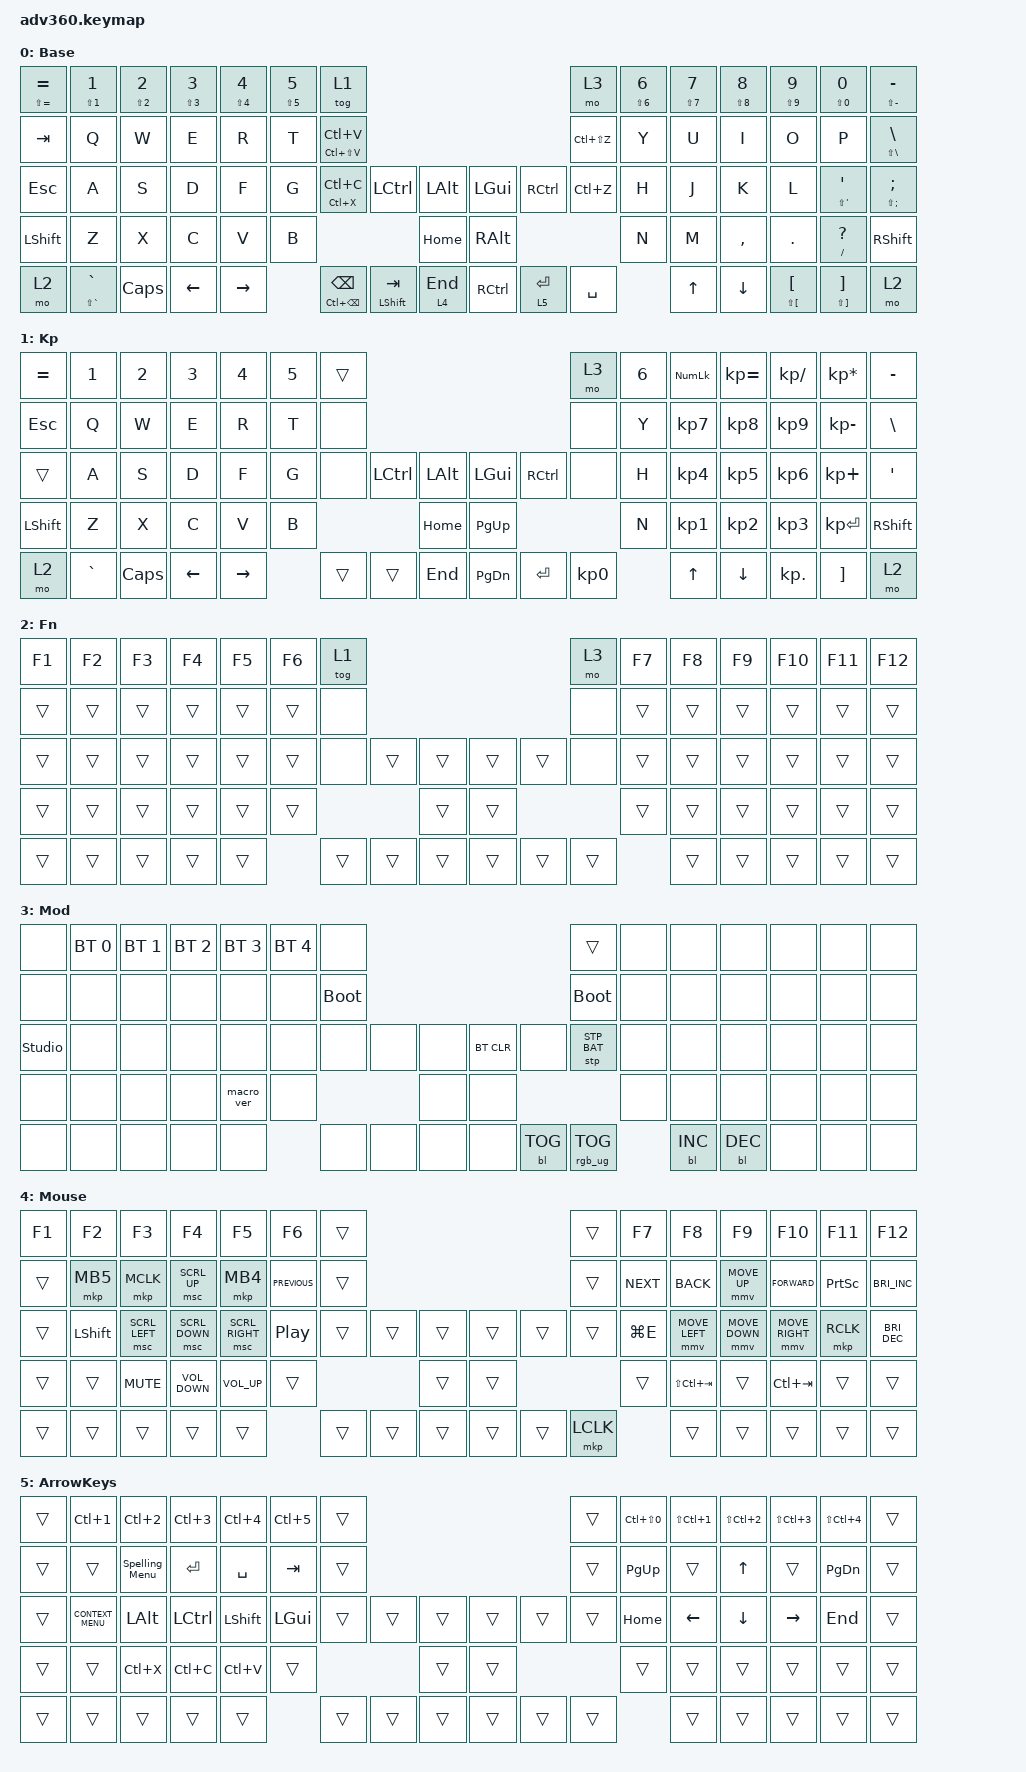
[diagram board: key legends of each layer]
#define ZMK_POINTING_DEFAULT_MOVE_VAL 2000
#define ZMK_POINTING_DEFAULT_SCRL_VAL 20

#include <dt-bindings/zmk/stp.h>
#include <behaviors.dtsi>
#include <dt-bindings/zmk/backlight.h>
#include <dt-bindings/zmk/bt.h>
#include <dt-bindings/zmk/keys.h>
#include <dt-bindings/zmk/pointing.h>
#include <dt-bindings/zmk/rgb.h>

&mmv {
    delay-ms = <10>;
    time-to-max-speed-ms = <360>;
    acceleration-exponent = <1>;
};

/ {
    behaviors {
        #include "macros.dtsi"
      #include "version.dtsi"

        hm: homerow_mods {
            compatible = "zmk,behavior-hold-tap";
            label = "HOMEROW_MODS";
            #binding-cells = <2>;
            tapping-term-ms = <200>;
            quick_tap_ms = <175>;
            flavor = "tap-preferred";
            bindings = <&kp>, <&kp>;
        };

        auto_shift: auto_shift {
            compatible = "zmk,behavior-hold-tap";
            label = "AUTO_SHIFT";
            bindings = <&kp>, <&kp>;

            #binding-cells = <2>;
            flavor = "balanced";
            tapping-term-ms = <180>;
            quick-tap-ms = <175>;
            require-prior-idle-ms = <150>;
        };

        TD0: TD0 {
            compatible = "zmk,behavior-tap-dance";
            label = "TD0";
            #binding-cells = <0>;
            bindings = <&none>, <&none>;
        };

        BackspaceDelete: BackspaceDelete {
            compatible = "zmk,behavior-hold-tap";
            label = "BACKSPACEDELETE";
            bindings = <&kp>, <&kp>;

            #binding-cells = <2>;
            flavor = "tap-preferred";
            tapping-term-ms = <150>;
        };

        Space_Tab: Space_Tab {
            compatible = "zmk,behavior-hold-tap";
            label = "SPACE_TAB";
            bindings = <&to>, <&kp>;

            #binding-cells = <2>;
            require-prior-idle-ms = <150>;
            tapping-term-ms = <180>;
            flavor = "tap-preferred";
            quick-tap-ms = <175>;
        };

        LShift_SpellCheck: LShift_SpellCheck {
            compatible = "zmk,behavior-hold-tap";
            label = "LSHIFT_SPELLCHECK";
            bindings = <&kp>, <&Spelling_Menu>;

            #binding-cells = <2>;
            tapping-term-ms = <150>;
            flavor = "hold-preferred";
        };

        RShift_Esc: RShift_Esc {
            compatible = "zmk,behavior-hold-tap";
            label = "RSHIFT_ESC";
            bindings = <&kp>, <&kp>;

            #binding-cells = <2>;
            tapping-term-ms = <150>;
        };

        QuestionMark: QuestionMark {
            compatible = "zmk,behavior-mod-morph";
            label = "QUESTIONMARK";
            bindings = <&kp QUESTION>, <&kp SLASH>;

            #binding-cells = <0>;
            mods = <(MOD_LSFT)>;
        };

        MySticky_Key: MySticky_Key {
            compatible = "zmk,behavior-sticky-key";
            label = "MYSTICKY_KEY";
            bindings = <&kp>;
            #binding-cells = <1>;
            quick-release;
            release-after-ms = <1000>;
        };
    };

    combos {
        compatible = "zmk,combos";

        Escape {
            bindings = <&kp ESC>;
            key-positions = <69 70>;
            timeout-ms = <50>;
            require-prior-idle-ms = <150>;
        };

        Spelling_Menu2 {
            bindings = <&Spelling_Menu>;
            key-positions = <41 42>;
            timeout-ms = <50>;
            require-prior-idle-ms = <150>;
            layers = <5>;
        };

        CapsWord {
            bindings = <&caps_word>;
            key-positions = <31 32>;
            layers = <0>;
            require-prior-idle-ms = <150>;
            timeout-ms = <50>;
        };

        Hyphen {
            bindings = <&kp MINUS>;
            key-positions = <42 43>;
            layers = <0>;
            timeout-ms = <50>;
            require-prior-idle-ms = <150>;
        };

        Sticky_Shift_R {
            bindings = <&MySticky_Key LEFT_SHIFT>;
            key-positions = <>;
            timeout-ms = <50>;
            require-prior-idle-ms = <150>;
            layers = <0>;
        };

        Delete {
            bindings = <&mt LC(DELETE) DELETE>;
            key-positions = <65 66>;
            timeout-ms = <50>;
            require-prior-idle-ms = <150>;
        };

        Spelling_Menu {
            bindings = <&Spelling_Menu>;
            key-positions = <71 72>;
            timeout-ms = <50>;
            require-prior-idle-ms = <150>;
        };

        Sticky_Shift_L {
            bindings = <&MySticky_Key LEFT_SHIFT>;
            key-positions = <>;
            timeout-ms = <50>;
            require-prior-idle-ms = <150>;
            layers = <0>;
        };

        Arrows_Layer_Toggle {
            bindings = <&tog 5>;
            key-positions = <>;
            layers = <0 5>;
            timeout-ms = <50>;
            require-prior-idle-ms = <150>;
        };

        MouseLayer {
            bindings = <&tog 4>;
            key-positions = <66 69>;
            timeout-ms = <50>;
            require-prior-idle-ms = <150>;
        };
    };

    macros {
        Spelling_Menu: Spelling_Menu {
            compatible = "zmk,behavior-macro";
            #binding-cells = <0>;
            bindings = <&kp LEFT &kp LEFT &kp K_CONTEXT_MENU>;
            label = "SPELLING_MENU";
        };
    };

    keymap {
        compatible = "zmk,keymap";

        default_layer {
            display-name = "Base";
            bindings = <
&auto_shift LS(EQUAL) EQUAL  &auto_shift LS(N1) N1        &auto_shift LS(N2) N2  &auto_shift LS(N3) N3  &auto_shift LS(N4) N4  &auto_shift LS(N5) N5  &tog 1                                                                                                                        &mo 3          &auto_shift LS(N6) N6  &auto_shift LS(N7) N7  &auto_shift LS(N8) N8  &auto_shift LS(N9) N9      &auto_shift LS(N0) N0       &auto_shift LS(MINUS) MINUS
&kp TAB                      &kp Q                        &kp W                  &kp E                  &kp R                  &kp T                  &mt LC(LS(V)) LC(V)                                                                                                           &kp LC(LS(Z))  &kp Y                  &kp U                  &kp I                  &kp O                      &kp P                       &auto_shift LS(BSLH) BSLH
&kp ESCAPE                   &kp A                        &kp S                  &kp D                  &kp F                  &kp G                  &mt LC(X) LC(C)                           &kp LEFT_CONTROL            &kp LEFT_ALT      &kp LEFT_GUI       &kp RIGHT_CONTROL  &kp LC(Z)      &kp H                  &kp J                  &kp K                  &kp L                      &auto_shift LS(SQT) SQT     &auto_shift LS(SEMICOLON) SEMICOLON
&kp LSHFT                    &kp Z                        &kp X                  &kp C                  &kp V                  &kp B                                                                                        &kp HOME          &kp RIGHT_ALT                                        &kp N                  &kp M                  &kp COMMA              &kp DOT                    &auto_shift SLASH QUESTION  &kp RSHFT
&mo 2                        &auto_shift LS(GRAVE) GRAVE  &kp CAPS               &kp LEFT               &kp RIGHT                                     &BackspaceDelete LC(BACKSPACE) BACKSPACE  &auto_shift LEFT_SHIFT TAB  &lt 4 END         &kp RIGHT_CONTROL  &lt 5 ENTER        &kp SPACE                             &kp UP                 &kp DOWN               &auto_shift LS(LBKT) LBKT  &auto_shift LS(RBKT) RBKT   &mo 2
            >;
        };

        keypad {
            display-name = "Kp";
            bindings = <
&kp EQUAL  &kp N1     &kp N2    &kp N3    &kp N4     &kp N5  &trans                                                 &mo 3      &kp N6  &kp KP_NUM  &kp KP_EQUAL  &kp KP_DIVIDE  &kp KP_MULTIPLY  &kp MINUS
&kp ESC    &kp Q      &kp W     &kp E     &kp R      &kp T   &none                                                  &none      &kp Y   &kp KP_N7   &kp KP_N8     &kp KP_N9      &kp KP_MINUS     &kp BSLH
&trans     &kp A      &kp S     &kp D     &kp F      &kp G   &none   &kp LCTRL  &kp LALT      &kp LGUI   &kp RCTRL  &none      &kp H   &kp KP_N4   &kp KP_N5     &kp KP_N6      &kp KP_PLUS      &kp SQT
&kp LSHFT  &kp Z      &kp X     &kp C     &kp V      &kp B                      &kp HOME      &kp PG_UP                        &kp N   &kp KP_N1   &kp KP_N2     &kp KP_N3      &kp KP_ENTER     &kp RSHFT
&mo 2      &kp GRAVE  &kp CAPS  &kp LEFT  &kp RIGHT          &trans  &trans     &kp END       &kp PG_DN  &kp ENTER  &kp KP_N0          &kp UP      &kp DOWN      &kp KP_DOT     &kp RBKT         &mo 2
            >;
        };

        fn {
            display-name = "Fn";
            bindings = <
&kp F1  &kp F2  &kp F3  &kp F4  &kp F5  &kp F6  &tog 1                                      &mo 3   &kp F7  &kp F8  &kp F9  &kp F10  &kp F11  &kp F12
&trans  &trans  &trans  &trans  &trans  &trans  &none                                       &none   &trans  &trans  &trans  &trans   &trans   &trans
&trans  &trans  &trans  &trans  &trans  &trans  &none   &trans  &trans      &trans  &trans  &none   &trans  &trans  &trans  &trans   &trans   &trans
&trans  &trans  &trans  &trans  &trans  &trans                  &trans      &trans                  &trans  &trans  &trans  &trans   &trans   &trans
&trans  &trans  &trans  &trans  &trans          &trans  &trans  &trans      &trans  &trans  &trans          &trans  &trans  &trans   &trans   &trans
            >;
        };

        mod {
            display-name = "Mod";
            bindings = <
&none           &bt BT_SEL 0  &bt BT_SEL 1  &bt BT_SEL 2  &bt BT_SEL 3  &bt BT_SEL 4  &none                                                  &trans           &none  &none       &none       &none  &none  &none
&none           &none         &none         &none         &none         &none         &bootloader                                            &bootloader      &none  &none       &none       &none  &none  &none
&studio_unlock  &none         &none         &none         &none         &none         &none        &none  &none      &bt BT_CLR  &none       &stp STP_BAT     &none  &none       &none       &none  &none  &none
&none           &none         &none         &none         &macro_ver    &none                             &none      &none                                    &none  &none       &none       &none  &none  &none
&none           &none         &none         &none         &none                       &none        &none  &none      &none       &bl BL_TOG  &rgb_ug RGB_TOG         &bl BL_INC  &bl BL_DEC  &none  &none  &none
            >;
        };

        Mouse {
            bindings = <
&kp F1  &kp F2          &kp F3          &kp F4             &kp F5           &kp F6            &trans                                      &trans     &kp F7      &kp F8           &kp F9          &kp F10          &kp F11          &kp F12
&trans  &mkp MB5        &mkp MCLK       &msc SCRL_UP       &mkp MB4         &kp C_PREVIOUS    &trans                                      &trans     &kp C_NEXT  &kp K_BACK       &mmv MOVE_UP    &kp K_FORWARD    &kp PRINTSCREEN  &kp C_BRIGHTNESS_INC
&trans  &kp LEFT_SHIFT  &msc SCRL_LEFT  &msc SCRL_DOWN     &msc SCRL_RIGHT  &kp C_PLAY_PAUSE  &trans  &trans  &trans      &trans  &trans  &trans     &kp LG(E)   &mmv MOVE_LEFT   &mmv MOVE_DOWN  &mmv MOVE_RIGHT  &mkp RCLK        &kp C_BRIGHTNESS_DEC
&trans  &trans          &kp C_MUTE      &kp C_VOLUME_DOWN  &kp C_VOLUME_UP  &trans                            &trans      &trans                     &trans      &kp LS(LC(TAB))  &trans          &kp LC(TAB)      &trans           &trans
&trans  &trans          &trans          &trans             &trans                             &trans  &trans  &trans      &trans  &trans  &mkp LCLK              &trans           &trans          &trans           &trans           &trans
            >;
        };

        ArrowKeys {
            bindings = <
&trans  &kp LC(NUMBER_1)    &kp LC(NUMBER_2)  &kp LC(NUMBER_3)  &kp LC(NUMBER_4)  &kp LC(NUMBER_5)  &trans                                      &trans  &kp LC(LS(NUMBER_0))  &kp LS(LC(NUMBER_1))  &kp LS(LC(NUMBER_2))  &kp LS(LC(NUMBER_3))  &kp LS(LC(NUMBER_4))  &trans
&trans  &trans              &Spelling_Menu    &kp ENTER         &kp SPACE         &kp TAB           &trans                                      &trans  &kp PAGE_UP           &trans                &kp UP                &trans                &kp PAGE_DOWN         &trans
&trans  &kp K_CONTEXT_MENU  &kp LEFT_ALT      &kp LEFT_CONTROL  &kp LEFT_SHIFT    &kp LEFT_GUI      &trans  &trans  &trans      &trans  &trans  &trans  &kp HOME              &kp LEFT              &kp DOWN              &kp RIGHT             &kp END               &trans
&trans  &trans              &kp LC(X)         &kp LC(C)         &kp LC(V)         &trans                            &trans      &trans                  &trans                &trans                &trans                &trans                &trans                &trans
&trans  &trans              &trans            &trans            &trans                              &trans  &trans  &trans      &trans  &trans  &trans                        &trans                &trans                &trans                &trans                &trans
            >;
        };

        extra1 {
            display-name = "Red";
            status = "reserved";
        };

        extra2 {
            display-name = "Purple";
            status = "reserved";
        };

        extra3 {
            display-name = "Cyan";
            status = "reserved";
        };

        extra4 {
            display-name = "Yellow";
            status = "reserved";
        };
    };
};
